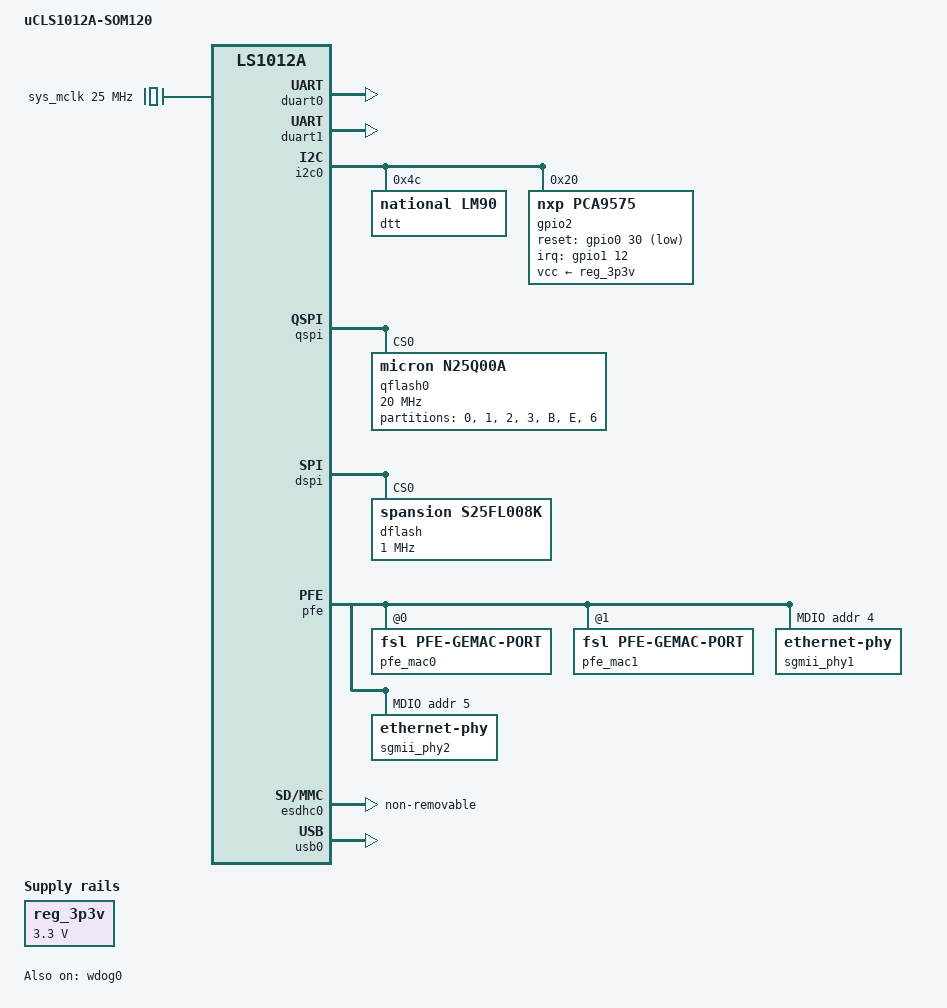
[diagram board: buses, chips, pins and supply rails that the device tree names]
// SPDX-License-Identifier: (GPL-2.0+ OR MIT)
/*
 * Device Tree Include file for Arcturus uCLS1012A-SOM120
 *
 * Copyright 2017-2022, Arcturus Networks Inc.
 *
 */
/dts-v1/;

#define RESET_BY_GPIO 0
#define ENABLE_EXTERNAL_WATCHDOG_PING 0

#include "arc-ls1012a.dtsi"

/ {
	model = "uCLS1012A-SOM120";
	compatible = "arc,ucls1012a-som120", "fsl,ls1012a";

	aliases {
		ethernet0 = &pfe_mac0;
		ethernet1 = &pfe_mac1;
	};

	sys_mclk: clock-mclk {
		compatible = "fixed-clock";
		#clock-cells = <0>;
		clock-frequency = <25000000>;
	};
#if RESET_BY_GPIO
	gpio-restart {
		compatible = "gpio-restart";
		gpios = <&gpio0 31 GPIO_ACTIVE_HIGH>;
		open-source;
		priority = <200>;
	};
#endif
	reg_3p3v: regulator-3p3v {
		compatible = "regulator-fixed";
		regulator-name = "3P3V";
		regulator-min-microvolt = <3300000>;
		regulator-max-microvolt = <3300000>;
		regulator-always-on;
	};

#if ENABLE_EXTERNAL_WATCHDOG_PING
	xwatchdog: xwatchdog {
		compatible = "linux,wdt-gpio";
		gpios = <&gpio2 11 GPIO_ACTIVE_HIGH>;
		hw_algo = "toggle";
		hw_margin_ms = <5000>;
		always-running;
		status = "okay";
	};
#endif

	leds {
		compatible = "gpio-leds";
		status = "okay";
#if 0
		led1 {
			label = "OUT1";
			gpios = <&gpio2 8 GPIO_ACTIVE_HIGH>;
			default-state = "on";
		};
		led2 {
			label = "OUT2";
			gpios = <&gpio2 9 GPIO_ACTIVE_HIGH>;
			default-state = "off";
		};
		led3 {
			label = "OUT3";
			gpios = <&gpio2 10 GPIO_ACTIVE_HIGH>;
			default-state = "on";
		};
		led4 {
			label = "OUT4";
			gpios = <&gpio2 11 GPIO_ACTIVE_HIGH>;
			default-state = "off";
		};
		led5 {
			label = "OUT5";
			gpios = <&gpio2 12 GPIO_ACTIVE_HIGH>;
			default-state = "on";
		};
		led6 {
			label = "OUT6";
			gpios = <&gpio2 13 GPIO_ACTIVE_HIGH>;
			default-state = "off";
		};
		led7 {
			label = "OUT7";
			gpios = <&gpio2 14 GPIO_ACTIVE_HIGH>;
			default-state = "on";
		};
		led8 {
			label = "OUT8";
			gpios = <&gpio2 15 GPIO_ACTIVE_HIGH>;
			default-state = "off";
		};
		amp_en {
			label = "AMP_EN";
			gpios = <&gpio3 0 GPIO_ACTIVE_HIGH>;
			default-state = "off";
		};
#endif
	};

	gpio-keys {
		compatible = "gpio-keys";
		status = "okay";
#if 0
		button1 {
			label = "IN1";
			linux,code = <432>;
			gpios = <&gpio2 0 GPIO_OPEN_DRAIN>;
			debounce-interval = <20>;
		};
		button2 {
			label = "IN2";
			linux,code = <433>;
			gpios = <&gpio2 1 GPIO_OPEN_DRAIN>;
			debounce-interval = <20>;
		};
		button3 {
			label = "IN3";
			linux,code = <434>;
			gpios = <&gpio2 2 GPIO_OPEN_DRAIN>;
			debounce-interval = <20>;
		};
		button4 {
			label = "IN4";
			linux,code = <435>;
			gpios = <&gpio2 3 GPIO_OPEN_DRAIN>;
			debounce-interval = <20>;
		};
		button5 {
			label = "IN5";
			linux,code = <436>;
			gpios = <&gpio2 4 GPIO_OPEN_DRAIN>;
			debounce-interval = <20>;
		};
		button6 {
			label = "IN6";
			linux,code = <437>;
			gpios = <&gpio2 5 GPIO_OPEN_DRAIN>;
			debounce-interval = <20>;
		};
		button7 {
			label = "IN7";
			linux,code = <438>;
			gpios = <&gpio2 6 GPIO_OPEN_DRAIN>;
			debounce-interval = <20>;
		};
		button8 {
			label = "IN8";
			linux,code = <439>;
			gpios = <&gpio2 7 GPIO_OPEN_DRAIN>;
			debounce-interval = <20>;
		};
#endif
	};
};

&pcie1 {
	status = "disabled";
};

&duart0 {
	status = "okay";
};

&duart1 {
	status = "okay";
};

&i2c0 {
	status = "okay";

	dtt@4c {
		compatible = "national,lm90";
		reg = <0x4C>;
	};

	/* U23 */
	gpio2: pca9575@20 {
		compatible = "nxp,pca9575";
		reg =<0x20>;
		/* GPIO pin base & pin0# = 432 */
		gpio-controller;
		#gpio-cells = <2>;
		interrupt-controller;
		#interrupt-cells = <2>;
		interrupt-parent = <&gpio1>;
		interrupts = <12 IRQ_TYPE_EDGE_FALLING>;
		vcc-supply = <&reg_3p3v>;
		reset-gpios = <&gpio0 30 GPIO_ACTIVE_LOW>;
	};
};

&qspi {
	num-cs = <1>;
	bus-num = <0>;
	status = "okay";

	qflash0: n25q00a@0 {
		compatible = "micron,n25q00a", "jedec,spi-nor";
		#address-cells = <1>;
		#size-cells = <1>;
		m25p,fast-read;
		spi-max-frequency = <20000000>;
		reg = <0>;
		partitions {
			compatible = "fixed-partitions";
			#address-cells = <1>;
			#size-cells = <1>;
			partition0 {
				label = "0";
				reg = <0x00A00000 0x00800000>;
			};
			partition1 {
				label = "1";
				reg = <0x01200000 0x05580000>;
			};
			partition2 {
				label = "2";
				reg = <0x07780000 0x00080000>;
			};
			partition3 {
				label = "3";
				reg = <0x07800000 0x00800000>;
			};
			partitionB {
				label = "B";
				reg = <0x00100000 0x00100000>;
			};
			partitionE {
				label = "E";
				reg = <0x00200000 0x00040000>;
			};
			/* Partition used for /CCA */
			partition6 {
				label = "6";
				reg = <0x06780000 0x01000000>;
			};
		};
	};
};

&dspi {
	bus-num = <1>;
	status = "okay";

	dflash: s25fl008k@0 {
		compatible = "spansion,s25fl008k", "jedec,spi-nor";
		reg = <0>;
		spi-max-frequency = <1000000>;
		m25p,fast-read;
#if 0
		partitions {
			compatible = "fixed-partitions";
			#address-cells = <1>;
			#size-cells = <1>;

			partition@0 {
				label = "SPI MBR";
				reg = <0x00000000 0x00002000>;
				read-only;
			};
			partition@2000 {
				label = "SPI ENV";
				reg = <0x00002000 0x00006000>;
				read-only;
			};
			partition@8000 {
				label = "SPI FS";
				reg = <0x00008000 0x000F8000>;
			};
		};
#endif
	};
#if 0
	spi@1 {
		compatible = "spidev";
		reg = <1>;
		spi-max-frequency = <10000000>;
	};

	spi@2 {
		compatible = "spidev";
		reg = <2>;
		spi-max-frequency = <10000000>;
		fsl,spi-cs-sck-delay = <100>;
		fsl,spi-sck-cs-delay = <100>;
	};
#endif
/*** Disabled until RCW will be changed
	mmc-spi@1 {
		#address-cells = <1>;
		#size-cells = <1>;
		compatible = "mmc-spi-slot";
		reg = <1>;
		spi-max-frequency = <5000000>;
		voltage-ranges = <3200 3400>;
		spi-rx-bus-width = <1>;
		spi-tx-bus-width = <1>;
		disable-wp;
		disable-cd;
	};
***/
};


&pfe {
	status = "okay";
	#address-cells = <1>;
	#size-cells = <0>;

	pfe_mac0: ethernet@0 {
		compatible = "fsl,pfe-gemac-port";
		#address-cells = <1>;
		#size-cells = <0>;
		reg = <0x0>;	/* GEM_ID */
		fsl,gemac-bus-id = <0x0>;	/* BUS_ID */
		fsl,mdio-mux-val = <0x0>;
		phy-mode = "sgmii";
		phy-handle = <&sgmii_phy1>;
	};

	pfe_mac1: ethernet@1 {
		compatible = "fsl,pfe-gemac-port";
		#address-cells = <1>;
		#size-cells = <0>;
		reg = <0x1>;	/* GEM_ID */
		fsl,mdio-mux-val = <0x0>;
		phy-mode = "sgmii";
		phy-handle = <&sgmii_phy2>;
	};

	mdio@0 {
		#address-cells = <1>;
		#size-cells = <0>;

		sgmii_phy1: ethernet-phy@4 {
			reg = <0x4>;
		};

		sgmii_phy2: ethernet-phy@5 {
			reg = <0x5>;
		};
	};
};

&esdhc0 {
	non-removable;
	status = "okay";
};

&usb0 {
	status = "okay";
};

&wdog0 {
	status = "okay";
};

&usb1 {
	status = "disabled";
};

&gpio0 {
	ngpios = <32>;
	gpio-line-names =	"UART1_SOUT",
				"UART1_SIN",
				"IIC1_SCL",
				"IIC1_SDA",
				"QSPI_A_SCK",
				"QSPI_A_CS0",
				"UART2_SIN",
				"UART2_RTS_B",
				"UART2_SOUT",
				"UART2_CTS_B",
				"GPIO1_10",
				"QSPI_A_DATA0",
				"QSPI_A_DATA1",
				"QSPI_A_DATA2",
				"QSPI_A_DATA3",
				"SHDC1_CMD",
				"SHDC1_DAT0",
				"SHDC1_DAT1",
				"SHDC1_DAT2",
				"SHDC1_DAT3",
				"SHDC1_CLK",
				"GPIO1_21",	/* SDHC1_CD_B PHY_A_#RST reset */
				"GPIO1_22",	/* SDHC1_WP PHY_B_#RST reset */
				"SDHC1_VSEL",
				"SPI_MOSI",
				"SPI_CS0",
				"SPI_CS1",
				"SPI_CS2",
				"SPI_MISO",
				"SPI_CLK",
				"GPIO_EXP_RST", /* GPIO1_30 */
				"MODULE_RST";
};

&gpio1 {
	ngpios = <32>;
	gpio-line-names =	"USB1_DRVVBUS",
				"USB1_PWR_FAULT",
				"PHY_A_IRQ",
				"SPI_CS3",		/* EC1_TXD2 GPIO2_03 */
				"IRQ1",			/* EC1_TXD1 GPIO2_04 */
				"IRQ2",			/* EC1_TXD0 GPIO2_05 */
				"IRQ3",			/* EC1_TX_EN GPIO2_06 */
				"IRQ5",			/* EC1_GTX_CLK GPIO2_07 */
				"reserved",
				"IRQ6",			/* EC1_RXD3 GPIO2_09 */
				"IRQ0",			/* EC1_RXD2 GPIO2_10 */
				"GPIO2_11",		/* EC1_RXD1 GPIO2_11  Dongle A13 */
				"GPIO_EXP_IRQ0",
				"PHY_B_IRQ",
				"GPIO2_14",		/* EC1_RX_DV GPIO2_14 Dongle B13 */
				"EMI1_MDC",
				"EMI1_MDIO",
				"TMP_DETECT_N",
				"reserved",
				"reserved",
				"reserved",
				"reserved",
				"reserved",
				"reserved",
				"reserved",
				"reserved",
				"reserved",
				"reserved",
				"reserved",
				"reserved",
				"reserved",
				"reserved";
};

/* U23 */
&gpio2 {
	ngpios = <16>;
	gpio-line-names =	"BP85",			/* GPIO10 */
				"BP83",			/* GPIO11 */
				"BP81",			/* GPIO12 */
				"BP79",			/* GPIO13 */
				"BP53",			/* GPIO5 */
				"BP55",			/* GPIO6 */
				"BP57",			/* GPIO7 */
				"BP49",			/* GPIO2 */
				"BP47",			/* GPIO0 */
				"BP41",			/* GPIO4 */
				"BP59", 		/* IRQ_OUT */
				"WDI",			/* GPIO14 */
				"BP45",			/* GPIO1 */
				"BP43",			/* GPIO3 */
				"BP110",		/* GPIO9 */
				"BP108";		/* GPIO8 */
};
